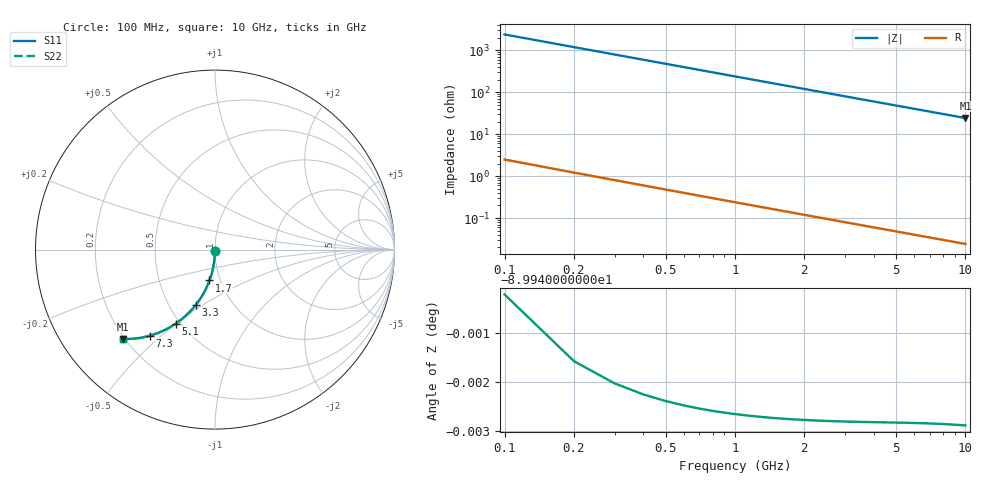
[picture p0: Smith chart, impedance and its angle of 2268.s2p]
# Hz S RI R 50.00
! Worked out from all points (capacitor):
!   100 points, 100 MHz to 10 GHz, reference 50 ohm
!   read as one part in shunt: C = 668 fF near 100 MHz
!   lowest |Z| = 24.3 ohm at 10 GHz (marker M1)
!   S11 on the Smith chart (normalised r, x): 100 MHz: 1.00, -0.02; 1.7 GHz: 0.89, -0.32; 3.3 GHz: 0.68, -0.47; 5.1 GHz: 0.47, -0.50; 7.3 GHz: 0.31, -0.46; 10 GHz: 0.19, -0.39
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1e8  -0.000119 -0.0105  0.9999 -0.0105  0.9999 -0.0105  -0.000119 -0.0105
2e8  -0.00046 -0.021  0.9995 -0.021  0.9995 -0.021  -0.00046 -0.021
3e8  -0.00102 -0.0314  0.999 -0.0315  0.999 -0.0315  -0.00102 -0.0314
4e8  -0.0018 -0.0418  0.9982 -0.0419  0.9982 -0.0419  -0.0018 -0.0418
5e8  -0.00279 -0.0522  0.9972 -0.0524  0.9972 -0.0524  -0.00279 -0.0522
6e8  -0.004 -0.0626  0.996 -0.0627  0.996 -0.0627  -0.004 -0.0626
8e8  -0.00706 -0.0832  0.9929 -0.0833  0.9929 -0.0833  -0.00706 -0.0832
9e8  -0.00891 -0.0934  0.9911 -0.0936  0.9911 -0.0936  -0.00891 -0.0934
1.1e9  -0.0132 -0.1136  0.9868 -0.1138  0.9868 -0.1138  -0.0132 -0.1136
1.4e9  -0.0212 -0.1432  0.9788 -0.1436  0.9788 -0.1436  -0.0212 -0.1432
1.7e9  -0.0308 -0.1721  0.9692 -0.1725  0.9692 -0.1725  -0.0308 -0.1721
1.8e9  -0.0344 -0.1815  0.9656 -0.1819  0.9656 -0.1819  -0.0344 -0.1815
2.1e9  -0.0461 -0.2089  0.9539 -0.2094  0.9539 -0.2094  -0.0461 -0.2089
2.5e9  -0.0639 -0.2438  0.9361 -0.2444  0.9361 -0.2444  -0.0639 -0.2438
3.3e9  -0.1058 -0.3067  0.8942 -0.3075  0.8942 -0.3075  -0.1058 -0.3067
3.4e9  -0.1115 -0.3139  0.8885 -0.3147  0.8885 -0.3147  -0.1115 -0.3139
4.2e9  -0.1602 -0.3658  0.8398 -0.3668  0.8398 -0.3668  -0.1602 -0.3658
5.1e9  -0.2188 -0.4123  0.7812 -0.4136  0.7812 -0.4136  -0.2188 -0.4123
6.7e9  -0.3247 -0.4669  0.6753 -0.4686  0.6753 -0.4686  -0.3247 -0.4669
7.3e9  -0.363 -0.4795  0.637 -0.4812  0.637 -0.4812  -0.363 -0.4795
8.4e9  -0.4293 -0.4935  0.5706 -0.4955  0.5706 -0.4955  -0.4293 -0.4935
1e10  -0.5153 -0.4981  0.4847 -0.5005  0.4847 -0.5005  -0.5153 -0.4981
